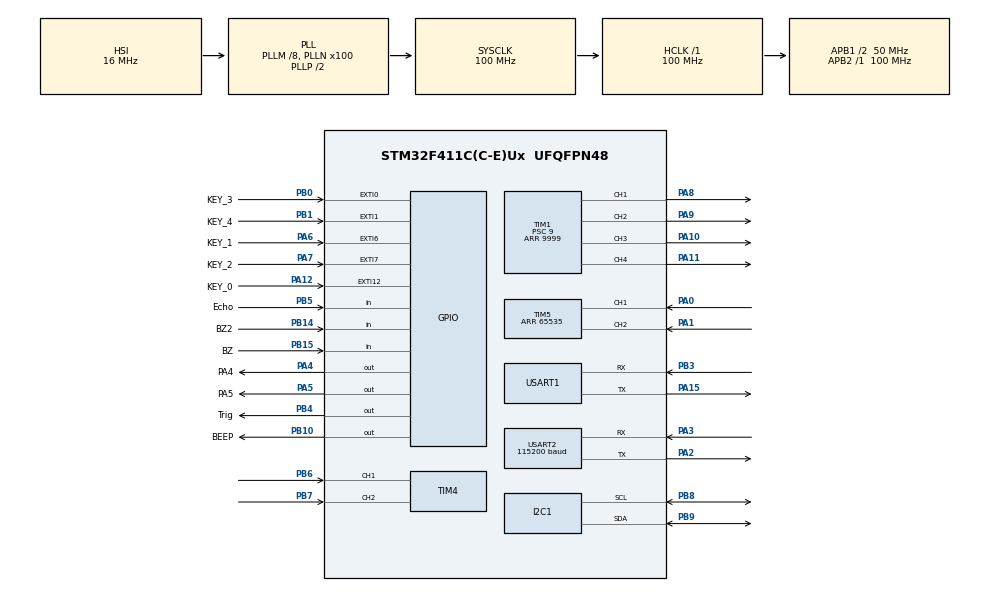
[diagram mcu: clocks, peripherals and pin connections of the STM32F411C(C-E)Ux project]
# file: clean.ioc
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Dma.Request0=USART2_RX
Dma.USART2_RX.0.Direction=DMA_PERIPH_TO_MEMORY
Dma.USART2_RX.0.FIFOMode=DMA_FIFOMODE_DISABLE
Dma.USART2_RX.0.Instance=DMA1_Stream5
Dma.USART2_RX.0.MemDataAlignment=DMA_MDATAALIGN_BYTE
Dma.USART2_RX.0.MemInc=DMA_MINC_ENABLE
Dma.USART2_RX.0.Mode=DMA_NORMAL
Dma.USART2_RX.0.PeriphDataAlignment=DMA_PDATAALIGN_BYTE
Dma.USART2_RX.0.PeriphInc=DMA_PINC_DISABLE
Dma.USART2_RX.0.Priority=DMA_PRIORITY_LOW
Mcu.Family=STM32F4
Mcu.Name=STM32F411C(C-E)Ux
Mcu.Package=UFQFPN48
NVIC.DMA1_Stream5_IRQn=true\:0\:0\:false\:false\:true\:false\:true\:true
NVIC.EXTI0_IRQn=true\:1\:0\:true\:false\:true\:true\:true\:true
NVIC.EXTI15_10_IRQn=true\:1\:0\:true\:false\:true\:true\:true\:true
NVIC.EXTI1_IRQn=true\:1\:0\:true\:false\:true\:true\:true\:true
NVIC.EXTI9_5_IRQn=true\:1\:0\:true\:false\:true\:true\:true\:true
NVIC.PriorityGroup=NVIC_PRIORITYGROUP_4
NVIC.TIM2_IRQn=true\:0\:0\:false\:false\:true\:true\:true\:true
NVIC.USART1_IRQn=true\:0\:0\:false\:false\:true\:true\:true\:true
NVIC.USART2_IRQn=true\:0\:0\:false\:false\:true\:true\:true\:true
PA0-WKUP.Signal=S_TIM5_CH1
PA1.Signal=S_TIM5_CH2
PA10.Signal=S_TIM1_CH3
PA11.Signal=S_TIM1_CH4
PA12.GPIO_Label=KEY_0
PA12.GPIO_ModeDefaultEXTI=GPIO_MODE_IT_RISING
PA12.GPIO_PuPd=GPIO_PULLDOWN
PA12.Signal=GPXTI12
PA13.Mode=Serial_Wire
PA13.Signal=SYS_JTMS-SWDIO
PA14.Mode=Serial_Wire
PA14.Signal=SYS_JTCK-SWCLK
PA15.Mode=Asynchronous
PA15.Signal=USART1_TX
PA2.Mode=Asynchronous
PA2.Signal=USART2_TX
PA3.Mode=Asynchronous
PA3.Signal=USART2_RX
PA4.GPIO_Label=PA4
PA4.GPIO_ModeDefaultOutputPP=GPIO_MODE_OUTPUT_OD
PA4.GPIO_PuPd=GPIO_NOPULL
PA4.Signal=GPIO_Output
PA5.GPIO_Label=PA5
PA5.GPIO_ModeDefaultOutputPP=GPIO_MODE_OUTPUT_OD
PA5.GPIO_PuPd=GPIO_NOPULL
PA5.Signal=GPIO_Output
PA6.GPIO_Label=KEY_1
PA6.GPIO_ModeDefaultEXTI=GPIO_MODE_IT_RISING
PA6.GPIO_PuPd=GPIO_PULLDOWN
PA6.Signal=GPXTI6
PA7.GPIO_Label=KEY_2
PA7.GPIO_ModeDefaultEXTI=GPIO_MODE_IT_RISING
PA7.GPIO_PuPd=GPIO_PULLDOWN
PA7.Signal=GPXTI7
PA8.Signal=S_TIM1_CH1
PA9.Signal=S_TIM1_CH2
PB0.GPIO_Label=KEY_3
PB0.GPIO_ModeDefaultEXTI=GPIO_MODE_IT_RISING
PB0.GPIO_PuPd=GPIO_PULLDOWN
PB0.Signal=GPXTI0
PB1.GPIO_Label=KEY_4
PB1.GPIO_ModeDefaultEXTI=GPIO_MODE_IT_RISING
PB1.GPIO_PuPd=GPIO_PULLDOWN
PB1.Signal=GPXTI1
PB10.GPIO_Label=BEEP
PB10.GPIO_PuPd=GPIO_PULLDOWN
PB10.Signal=GPIO_Output
PB14.GPIO_Label=BZ2
PB14.GPIO_PuPd=GPIO_PULLDOWN
PB14.Signal=GPIO_Input
PB15.GPIO_Label=BZ
PB15.GPIO_PuPd=GPIO_PULLUP
PB15.Signal=GPIO_Input
PB3.Mode=Asynchronous
PB3.Signal=USART1_RX
PB4.GPIO_Label=Trig
PB4.Signal=GPIO_Output
PB5.GPIO_Label=Echo
PB5.Signal=GPIO_Input
PB6.Signal=S_TIM4_CH1
PB7.Signal=S_TIM4_CH2
PB8.Mode=I2C
PB8.Signal=I2C1_SCL
PB9.Mode=I2C
PB9.Signal=I2C1_SDA
PH0\ -\ OSC_IN.Mode=HSE-External-Oscillator
PH0\ -\ OSC_IN.Signal=RCC_OSC_IN
PH1\ -\ OSC_OUT.Mode=HSE-External-Oscillator
PH1\ -\ OSC_OUT.Signal=RCC_OSC_OUT
ProjectManager.HeapSize=0x200
ProjectManager.StackSize=0x400
ProjectManager.TargetToolchain=MDK-ARM V5.32
RCC.48MHZClocksFreq_Value=50000000
RCC.AHBFreq_Value=100000000
RCC.APB1CLKDivider=RCC_HCLK_DIV2
RCC.APB1Freq_Value=50000000
RCC.APB1TimFreq_Value=100000000
RCC.APB2Freq_Value=100000000
RCC.APB2TimFreq_Value=100000000
RCC.CortexFreq_Value=100000000
RCC.HCLKFreq_Value=100000000
RCC.HSE_VALUE=25000000
RCC.HSI_VALUE=16000000
RCC.LSE_VALUE=32768
RCC.PLLM=8
RCC.PLLN=100
RCC.SYSCLKFreq_VALUE=100000000
RCC.SYSCLKSource=RCC_SYSCLKSOURCE_PLLCLK
RCC.VCOOutputFreq_Value=200000000
SH.S_TIM1_CH1.0=TIM1_CH1,PWM Generation1 CH1
SH.S_TIM1_CH2.0=TIM1_CH2,PWM Generation2 CH2
SH.S_TIM1_CH3.0=TIM1_CH3,PWM Generation3 CH3
SH.S_TIM1_CH4.0=TIM1_CH4,PWM Generation4 CH4
SH.S_TIM4_CH1.0=TIM4_CH1,Encoder_Interface
SH.S_TIM4_CH2.0=TIM4_CH2,Encoder_Interface
SH.S_TIM5_CH1.0=TIM5_CH1,Encoder_Interface
SH.S_TIM5_CH2.0=TIM5_CH2,Encoder_Interface
TIM1.AutoReloadPreload=TIM_AUTORELOAD_PRELOAD_ENABLE
TIM1.Channel-PWM\ Generation1\ CH1=TIM_CHANNEL_1
TIM1.Channel-PWM\ Generation2\ CH2=TIM_CHANNEL_2
TIM1.Channel-PWM\ Generation3\ CH3=TIM_CHANNEL_3
TIM1.Channel-PWM\ Generation4\ CH4=TIM_CHANNEL_4
TIM1.Period=9999
TIM1.Prescaler=9
TIM1.Pulse-PWM\ Generation1\ CH1=10000
TIM1.Pulse-PWM\ Generation3\ CH3=10000
TIM2.Period=9999
TIM2.Prescaler=9
TIM5.Period=65535
USART1.VirtualMode=VM_ASYNC
USART2.BaudRate=115200
USART2.VirtualMode=VM_ASYNC
VP_TIM1_VS_ClockSourceINT.Mode=Internal
VP_TIM2_VS_ClockSourceINT.Mode=Internal
board=custom

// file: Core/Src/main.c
/* USER CODE BEGIN Header */
/**
  ******************************************************************************
  * @file           : main.c
  * @brief          : Main program body
  ******************************************************************************
  * @attention
  *
  * Copyright (c) 2025 STMicroelectronics.
  * All rights reserved.
  *
  * This software is licensed under terms that can be found in the LICENSE file
  * in the root directory of this software component.
  * If no LICENSE file comes with this software, it is provided AS-IS.
  *
  ******************************************************************************
  */
/* USER CODE END Header */
#include "main.h"
#include "dma.h"
#include "i2c.h"
#include "tim.h"
#include "usart.h"
#include "gpio.h"

/* USER CODE BEGIN Includes */
#include "encoder.h"
#include "pwm.h"
#include "debug.h"
#include "GWKJ.h"
#include "Imu.h"
#include "key.h"
#include "pid.h"
#include "OLED.h"
#include "Buzzer.h"
#include "distance.h"
#include "usart_2.h"
/* USER CODE END Includes */

/* USER CODE BEGIN PTD */
float Kp = 0.7;  // 比例增益
float Kd = 0.8;  // 微分增益
void PD_update(int target_left, int target_right,
               float actual_left, float actual_right,
               float dt,
               float *output_left, float *output_right) ;
/* USER CODE END PTD */

void SystemClock_Config(void);

/* USER CODE BEGIN 0 */
void HAL_UART_RxCpltCallback(UART_HandleTypeDef *huart)

{
    if(huart->Instance == USART1)
    {
        UART1_RxCpltCallback(huart);
    }

}
/* USER CODE END 0 */

int main(void)
{

  /* MCU Configuration--------------------------------------------------------*/

  /* Reset of all peripherals, Initializes the Flash interface and the Systick. */
  HAL_Init();

  /* Configure the system clock */
  SystemClock_Config();

  /* Initialize all configured peripherals */
  MX_GPIO_Init();
  MX_DMA_Init();
  MX_TIM1_Init();
  MX_TIM4_Init();
  MX_TIM5_Init();
  MX_USART1_UART_Init();
  MX_I2C1_Init();
  MX_USART2_UART_Init();
  MX_TIM2_Init();
  /* USER CODE BEGIN 2 */
	Set_PWM(0,0);
	HAL_TIM_Base_Start_IT(&htim2);
	HAL_TIM_PWM_Start(&htim1,TIM_CHANNEL_1);
	HAL_TIM_PWM_Start(&htim1,TIM_CHANNEL_2);
	HAL_TIM_PWM_Start(&htim1,TIM_CHANNEL_3);
	HAL_TIM_PWM_Start(&htim1,TIM_CHANNEL_4);
	HAL_TIM_Encoder_Start(&htim4,TIM_CHANNEL_ALL);
	HAL_TIM_Encoder_Start(&htim5,TIM_CHANNEL_ALL);
	USART2_Init();
//	Debug_Init();	//白色是高电平，为1，黑色是低电平，为2
	uint8_t BIT[8]={0,0,0,0,0,0,0,0};
	extern int Flag;
	int stopflag=0;
	int findflag=0;
	int jichu_flag = 0;
	extern float offset;
	extern int IMU_flag;
	extern int turn;
	extern int BASE_SPEED;
	extern float Yaw;
	extern float Yaw_Init;
	float speed_left_actual;
  float speed_right_actual;
  extern int motor_left;
  extern int motor_right;
	extern uint8_t RxBuffer_2[RXBUFFERSIZE_2];
	extern uint8_t Uart_RxBuffer_2;
	float output_left, output_right;
	GW_digital_Init();
	OLED_Init();//OLED初始化
//	GW_analog_Init();
	IMU_Init();
	IMU_Proc();
	Yaw_Init=Yaw;
	int flag_turn=0;
		int flag_sharp_Rturn=0;
	int flag_sharp_Lturn=0;
	int beepflag=1;
	int crossflag=0;
	int bzflag=0;
	uint16_t K210_data[10]={0};

	extern float distance;
//	uint8_t Problem_Flag = 0;
//	uint8_t Calibration_Flag;
//	DEBUG_info("Main Init",":over");
  /* USER CODE END 2 */

  /* Infinite loop */
  /* USER CODE BEGIN WHILE */
  while (1)
  {
//			Usart2_SendNumber(0);
	    OLED_Update();
//			OLED_Printf(0, 0, OLED_8X16, "recieve:%d,%d,%d", RxBuffer_2[0],RxBuffer_2[1],RxBuffer_2[2]);

//		if(HAL_GPIO_ReadPin(GPIOB,GPIO_PIN_15)==0)//读取PA0引脚电平，如果低电平，说明有障碍物
//		{
//				OLED_Printf(0, 16, OLED_8X16, "bz:%d", 1);//有
//		}
//		else
//		{
//				OLED_Printf(0, 16, OLED_8X16, "bz:%d", 0);
//		}
//		Set_PWM(2000,2000);//2000-13100 1000-14100 3000 -12100
//		OLED_ShowFloatNum(0, 16,left_motor_actual , 4, 4,OLED_8X16);
//		OLED_ShowSignedNum(0,32,(int)Read_Encoder(4),4,OLED_8X16);
//			speed_left_actual=Read_Encoder(4);
//			speed_right_actual=Read_Encoder(5);
//			OLED_Printf(0, 16, OLED_8X16, "left:%f", speed_left_actual);
//			OLED_Printf(0, 0, OLED_8X16, "right:%f", speed_right_actual);

//			DEBUG_info("Encoder_Left111",":%f",speed_left_actual);
//			DEBUG_info("Encoder_Left222",":%f",speed_right_actual);
//
//		delay_ms(1000);
//
//		Set_PWM(-1000,1000);
//		DEBUG_info("Encoder_Left111",":%d",(int)Read_Encoder(4));
//		DEBUG_info("Encoder_Left222",":%d",(int)Read_Encoder(5));
//
//		delay_ms(1000);
//		GW_digital_eight(BIT);

//			DEBUG_info("Grey",":%d,%d,%d,%d,%d,%d,%d,%d",(int)BIT[0],(int)BIT[1],(int)BIT[2],(int)BIT[3],(int)BIT[4],(int)BIT[5],(int)BIT[6],(int)BIT[7]);

//		IMU_Proc();
//			DEBUG_info("Yaw",":%f",Yaw);
//		DEBUG_info("Gyro",":%f",Gyro);
//		DEBUG_info("flag",":%d",Problem_Flag);
//			ReadSensors(BIT);               // ��ȡ�Ҷȴ���������
//			int offset = CalculateOffset(BIT); // ����ƫ�����ĵľ���
//			float pid_output = ComputePID(offset);   // ִ��PID����
//			AdjustMotorSpeed(pid_output);
			if(Flag==1)
			{
				IMU_Proc();
				OLED_Printf(0, 0, OLED_8X16, "Yaw:%f", Yaw);
//				OLED_Printf(0, 32, OLED_8X16, "bz:%f", bzflag);

				if(beepflag==1)
				{
					Buzzer_ShortBeep();
					delay_ms(500);
					Buzzer_ShortBeep();
					delay_ms(500);
					Buzzer_ShortBeep();
					delay_ms(500);
					beepflag=0;
				}
				get_distance();
				ReadSensors(BIT);               // ��ȡ�Ҷȴ���������
				int offset = CalculateOffset(BIT); // ����ƫ�����ĵľ���
				if(turn == 1)	//左拐
				{
					Set_PWM(3000,3000);
					delay_ms(100);
					 findflag=1;
						turn =0;

				}
//
				if(turn == 2)	//右拐
				{
					Set_PWM(3000,3000);
					delay_ms(100);
          findflag=2;
					turn =0;
					crossflag++;
				}
				if(crossflag==1)		//到B点
				{
					delay_ms(150);
					crossflag++;
					while(Yaw>-70)
					{
						IMU_Proc();
						OLED_Printf(0, 16, OLED_8X16, "Yaw:%f", Yaw);
						Set_PWM(-1000,1000);
					}
					Set_PWM(2000,2000);
					delay_ms(700);
					Set_PWM(0,0);
					Buzzer_ShortBeep();
					delay_ms(500);
					Buzzer_ShortBeep();
					delay_ms(500);
					Buzzer_ShortBeep();
					delay_ms(500);
					bzflag=1;
					BASE_SPEED=4000;
				}

				if((bzflag==1)&&(distance>8)&&(distance<20))
				//if(bzflag==1&&(HAL_GPIO_ReadPin(GPIOB,GPIO_PIN_15)==0||HAL_GPIO_ReadPin(GPIOB,GPIO_PIN_14)==0))//读取PA0引脚电平，如果低电平，说明有障碍物
				{	//十字路口处先直走
						BASE_SPEED=2000;
						bzflag=2;
						OLED_Printf(0, 16, OLED_8X16, "bz:%d", 1);//有
						while(BIT[0]==1||BIT[1]==1||BIT[6]==1||BIT[7]==1)
						{
							ReadSensors(BIT);
							Set_PWM(-1000,-1000);
						}
				}

				if((bzflag==2)&&(BIT[0]==0&&BIT[1]==0&&BIT[7]==0&&BIT[6]==0))		//判断十字路口直走后倒退到十字路口
				{
					bzflag=3;
					Set_PWM(1000,1000);
					delay_ms(1500);
					IMU_Proc();
					while(Yaw<45)	//十字路口直走后回来再左转
					{
						Set_PWM(1000,-1000);
						IMU_Proc();
					}
					Buzzer_LongBeep();

				}

				if((bzflag==3)&&(distance>8)&&(distance<15))
				//if(bzflag==3&&(HAL_GPIO_ReadPin(GPIOB,GPIO_PIN_15)==0||HAL_GPIO_ReadPin(GPIOB,GPIO_PIN_14)==0))//读取PA0引脚电平，如果低电平，说明有障碍物
					{		//十字路口左拐避障
						bzflag=4;
						while(Yaw>-73)	//十字路口左拐后掉头
					{
						Set_PWM(-1000,1000);
						IMU_Proc();
					}
						Set_PWM(1000,1000);
						jichu_flag = 1 ;
						Buzzer_LongBeep();
					}
				float pid_output = ComputePID(offset);
				AdjustMotorSpeed(pid_output);
				if(jichu_flag==1&&BIT[0]==1&&BIT[1]==1&&BIT[2]==1&&BIT[3]==1&&BIT[4]==1&&BIT[5]==1&&BIT[6]==1&&BIT[7]==1)
				{
					Set_PWM(0,0);
					Buzzer_ShortBeep();
					delay_ms(500);
					Buzzer_ShortBeep();
					delay_ms(500);
					Buzzer_ShortBeep();
					delay_ms(500);
					Flag=3;
					findflag=0;
				}

				while(BIT[0]==1&&BIT[1]==1&&BIT[2]==1&&BIT[3]==1&&BIT[4]==1&&BIT[5]==1&&BIT[6]==1&&findflag==2&&(bzflag==0||bzflag==1))
				{		//左转
				 Set_PWM(-2000,2000);
				 ReadSensors(BIT);
				 if(BIT[3]==0||BIT[4]==0)
					{
						findflag=0;
					}
				}
		 		while(BIT[0]==1&&BIT[1]==1&&BIT[2]==1&&BIT[3]==1&&BIT[4]==1&&BIT[5]==1&&BIT[6]==1&&findflag==1&&(bzflag==0||bzflag==1))
				{		//右转
					Set_PWM(2000,-2000);
					ReadSensors(BIT);
					if(BIT[3]==0||BIT[4]==0)
					{
						findflag=0;
					}
				}
			}

			if(Flag==2)
			{
					Usart2_SendChar('0');
					BASE_SPEED=1000;
					IMU_Proc();
					float offset_Yaw=Yaw+63;
					float angle_pid=angle_PID_Controller(offset_Yaw,1);
					AdjustMotorSpeed(angle_pid);
					ReadSensors(BIT);
					if(BIT[3]==0||BIT[4]==0)
					{
						Set_PWM(0,0);

						Flag=0;
					}

			}
			if(Flag==3)
			{
				Usart2_SendChar('1');
				delay_ms(100);
				Flag=0;
			}
			if(Flag==4)
			{
				get_distance();
			}
//			ReadSensors(BIT);
//      int offset = CalculateOffset(BIT);
//      float pid_output = ComputePID(offset);
//      AdjustMotorSpeed(pid_output);
		}}
    /* USER CODE END WHILE */

void SystemClock_Config(void)
{
  RCC_OscInitTypeDef RCC_OscInitStruct = {0};
  RCC_ClkInitTypeDef RCC_ClkInitStruct = {0};

  /** Configure the main internal regulator output voltage
  */
  __HAL_RCC_PWR_CLK_ENABLE();
  __HAL_PWR_VOLTAGESCALING_CONFIG(PWR_REGULATOR_VOLTAGE_SCALE1);

  /** Initializes the RCC Oscillators according to the specified parameters
  * in the RCC_OscInitTypeDef structure.
  */
  RCC_OscInitStruct.OscillatorType = RCC_OSCILLATORTYPE_HSI;
  RCC_OscInitStruct.HSIState = RCC_HSI_ON;
  RCC_OscInitStruct.HSICalibrationValue = RCC_HSICALIBRATION_DEFAULT;
  RCC_OscInitStruct.PLL.PLLState = RCC_PLL_ON;
  RCC_OscInitStruct.PLL.PLLSource = RCC_PLLSOURCE_HSI;
  RCC_OscInitStruct.PLL.PLLM = 8;
  RCC_OscInitStruct.PLL.PLLN = 100;
  RCC_OscInitStruct.PLL.PLLP = RCC_PLLP_DIV2;
  RCC_OscInitStruct.PLL.PLLQ = 4;
  if (HAL_RCC_OscConfig(&RCC_OscInitStruct) != HAL_OK)
  {
    Error_Handler();
  }

  /** Initializes the CPU, AHB and APB buses clocks
  */
  RCC_ClkInitStruct.ClockType = RCC_CLOCKTYPE_HCLK|RCC_CLOCKTYPE_SYSCLK
                              |RCC_CLOCKTYPE_PCLK1|RCC_CLOCKTYPE_PCLK2;
  RCC_ClkInitStruct.SYSCLKSource = RCC_SYSCLKSOURCE_PLLCLK;
  RCC_ClkInitStruct.AHBCLKDivider = RCC_SYSCLK_DIV1;
  RCC_ClkInitStruct.APB1CLKDivider = RCC_HCLK_DIV2;
  RCC_ClkInitStruct.APB2CLKDivider = RCC_HCLK_DIV1;

  if (HAL_RCC_ClockConfig(&RCC_ClkInitStruct, FLASH_LATENCY_3) != HAL_OK)
  {
    Error_Handler();
  }
}

/* USER CODE BEGIN 4 */
float prev_error_left = 0.0;
float prev_error_right = 0.0;
void PD_update(int target_left, int target_right,
               float actual_left, float actual_right,
               float dt,
               float *output_left, float *output_right) {

    // 计算左右电机的误差
    float error_left = target_left - actual_left;
    float error_right = target_right - actual_right;

    // 计算微分项
    float derivative_left = (error_left - prev_error_left) / dt;
    float derivative_right = (error_right - prev_error_right) / dt;

    // 计算 PD 控制输出
    *output_left = Kp * error_left + Kd * derivative_left;
    *output_right = Kp * error_right + Kd * derivative_right;

    // 保存当前误差，供下次计算微分项使用
    prev_error_left = error_left;
    prev_error_right = error_right;
}
/* USER CODE END 4 */

void Error_Handler(void)
{
  __disable_irq();
  while (1)
  {
  }
}
